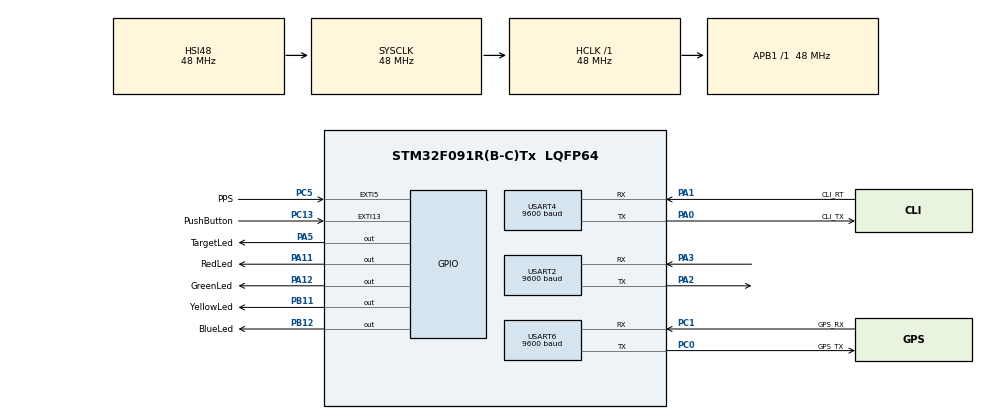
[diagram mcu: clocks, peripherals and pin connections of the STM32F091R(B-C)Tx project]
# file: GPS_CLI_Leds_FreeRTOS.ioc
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Dma.Request0=USART4_TX
Dma.USART4_TX.0.Direction=DMA_MEMORY_TO_PERIPH
Dma.USART4_TX.0.Instance=DMA1_Channel2
Dma.USART4_TX.0.MemDataAlignment=DMA_MDATAALIGN_BYTE
Dma.USART4_TX.0.MemInc=DMA_MINC_ENABLE
Dma.USART4_TX.0.Mode=DMA_NORMAL
Dma.USART4_TX.0.PeriphDataAlignment=DMA_PDATAALIGN_BYTE
Dma.USART4_TX.0.PeriphInc=DMA_PINC_DISABLE
Dma.USART4_TX.0.Priority=DMA_PRIORITY_LOW
FREERTOS.Tasks01=TargetLedTask,-2,128,TargetLedTaskFun,Default,NULL,Dynamic,NULL,NULL;YellowLedTask,-2,128,YellowLedTaskFun,Default,NULL,Dynamic,NULL,NULL;BlueLedTask,-2,128,BlueLedTaskFun,Default,NULL,Dynamic,NULL,NULL;RedLedTask,-2,128,RedLedTaskFun,Default,NULL,Dynamic,NULL,NULL;GreenLedTask,-2,128,GreenLedTaskFun,Default,NULL,Dynamic,NULL,NULL;CliTask,-2,128,CliTaskFun,Default,NULL,Dynamic,NULL,NULL;GPSTask,2,600,GPSTaskFun,Default,NULL,Dynamic,NULL,NULL
FREERTOS.configTOTAL_HEAP_SIZE=6880
Mcu.Family=STM32F0
Mcu.Name=STM32F091R(B-C)Tx
Mcu.Package=LQFP64
NVIC.DMA1_Ch2_3_DMA2_Ch1_2_IRQn=true\:3\:0\:false\:false\:true\:true\:false
NVIC.EXTI4_15_IRQn=true\:3\:0\:false\:true\:true\:1\:true\:true
NVIC.TIM1_BRK_UP_TRG_COM_IRQn=true\:0\:0\:false\:false\:true\:false\:false
NVIC.TimeBase=TIM1_BRK_UP_TRG_COM_IRQn
NVIC.TimeBaseIP=TIM1
NVIC.USART2_IRQn=true\:3\:0\:false\:false\:true\:true\:true
NVIC.USART3_8_IRQn=true\:3\:0\:false\:false\:true\:true\:true
PA0.GPIO_Label=CLI_TX
PA0.Mode=Asynchronous
PA0.Signal=USART4_TX
PA1.GPIO_Label=CLI_RT
PA1.Mode=Asynchronous
PA1.Signal=USART4_RX
PA11.GPIO_Label=RedLed
PA11.Signal=GPIO_Output
PA12.GPIO_Label=GreenLed
PA12.Signal=GPIO_Output
PA13.Mode=Serial_Wire
PA13.Signal=SYS_SWDIO
PA14.Mode=Serial_Wire
PA14.Signal=SYS_SWCLK
PA2.Mode=Asynchronous
PA2.Signal=USART2_TX
PA3.Mode=Asynchronous
PA3.Signal=USART2_RX
PA5.GPIO_Label=TargetLed
PA5.Signal=GPIO_Output
PB11.GPIO_Label=YellowLed
PB11.Signal=GPIO_Output
PB12.GPIO_Label=BlueLed
PB12.Signal=GPIO_Output
PC0.GPIO_Label=GPS_TX
PC0.Mode=Asynchronous
PC0.Signal=USART6_TX
PC1.GPIO_Label=GPS_RX
PC1.Mode=Asynchronous
PC1.Signal=USART6_RX
PC13.GPIO_Label=PushButton
PC13.Signal=GPXTI13
PC14OSC32_IN.Mode=LSE-External-Oscillator
PC14OSC32_IN.Signal=RCC_OSC32_IN
PC15OSC32_OUT.Mode=LSE-External-Oscillator
PC15OSC32_OUT.Signal=RCC_OSC32_OUT
PC5.GPIO_Label=PPS
PC5.Signal=GPXTI5
PF0-OSC_IN.Mode=HSE-External-Oscillator
PF0-OSC_IN.Signal=RCC_OSC_IN
PF1-OSC_OUT.Mode=HSE-External-Oscillator
PF1-OSC_OUT.Signal=RCC_OSC_OUT
ProjectManager.HeapSize=0x200
ProjectManager.StackSize=0x400
ProjectManager.TargetToolchain=Makefile
RCC.AHBFreq_Value=48000000
RCC.APB1Freq_Value=48000000
RCC.APB1TimFreq_Value=48000000
RCC.HCLKFreq_Value=48000000
RCC.SYSCLKFreq_VALUE=48000000
RCC.SYSCLKSource=RCC_SYSCLKSOURCE_HSI48
USART2.BaudRate=9600
USART2.VirtualMode-Asynchronous=VM_ASYNC
USART2.WordLength=WORDLENGTH_8B
USART4.BaudRate=9600
USART4.VirtualMode-Asynchronous=VM_ASYNC
USART4.WordLength=WORDLENGTH_8B
USART6.BaudRate=9600
USART6.VirtualMode=VM_ASYNC
USART6.WordLength=WORDLENGTH_8B
VP_FREERTOS_VS_ENABLE.Mode=Enabled
VP_SYS_VS_tim1.Mode=TIM1
board=GPS_CLI_Leds_FreeRTOS

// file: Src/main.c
/* USER CODE BEGIN Header */
/**
  ******************************************************************************
  * @file           : main.c
  * @brief          : Main program body
  ******************************************************************************
  * This notice applies to any and all portions of this file
  * that are not between comment pairs USER CODE BEGIN and
  * USER CODE END. Other portions of this file, whether
  * inserted by the user or by software development tools
  * are owned by their respective copyright owners.
  *
  * Copyright (c) 2019 STMicroelectronics International N.V.
  * All rights reserved.
  *
  * Redistribution and use in source and binary forms, with or without
  * modification, are permitted, provided that the following conditions are met:
  *
  * 1. Redistribution of source code must retain the above copyright notice,
  *    this list of conditions and the following disclaimer.
  * 2. Redistributions in binary form must reproduce the above copyright notice,
  *    this list of conditions and the following disclaimer in the documentation
  *    and/or other materials provided with the distribution.
  * 3. Neither the name of STMicroelectronics nor the names of other
  *    contributors to this software may be used to endorse or promote products
  *    derived from this software without specific written permission.
  * 4. This software, including modifications and/or derivative works of this
  *    software, must execute solely and exclusively on microcontroller or
  *    microprocessor devices manufactured by or for STMicroelectronics.
  * 5. Redistribution and use of this software other than as permitted under
  *    this license is void and will automatically terminate your rights under
  *    this license.
  *
  * THIS SOFTWARE IS PROVIDED BY STMICROELECTRONICS AND CONTRIBUTORS "AS IS"
  * AND ANY EXPRESS, IMPLIED OR STATUTORY WARRANTIES, INCLUDING, BUT NOT
  * LIMITED TO, THE IMPLIED WARRANTIES OF MERCHANTABILITY, FITNESS FOR A
  * PARTICULAR PURPOSE AND NON-INFRINGEMENT OF THIRD PARTY INTELLECTUAL PROPERTY
  * RIGHTS ARE DISCLAIMED TO THE FULLEST EXTENT PERMITTED BY LAW. IN NO EVENT
  * SHALL STMICROELECTRONICS OR CONTRIBUTORS BE LIABLE FOR ANY DIRECT, INDIRECT,
  * INCIDENTAL, SPECIAL, EXEMPLARY, OR CONSEQUENTIAL DAMAGES (INCLUDING, BUT NOT
  * LIMITED TO, PROCUREMENT OF SUBSTITUTE GOODS OR SERVICES; LOSS OF USE, DATA,
  * OR PROFITS; OR BUSINESS INTERRUPTION) HOWEVER CAUSED AND ON ANY THEORY OF
  * LIABILITY, WHETHER IN CONTRACT, STRICT LIABILITY, OR TORT (INCLUDING
  * NEGLIGENCE OR OTHERWISE) ARISING IN ANY WAY OUT OF THE USE OF THIS SOFTWARE,
  * EVEN IF ADVISED OF THE POSSIBILITY OF SUCH DAMAGE.
  *
  ******************************************************************************
  */
/* USER CODE END Header */

#include "main.h"
#include "cmsis_os.h"

/* USER CODE BEGIN Includes */

#include "stdlib.h"
#include "../Src/libs/GPS.h"
#include "interfaces/uartGPS.h"

/* USER CODE END Includes */

UART_HandleTypeDef huart2;
UART_HandleTypeDef huart4;
UART_HandleTypeDef huart6;

uint8 tempData;

DMA_HandleTypeDef hdma_usart4_tx;

osThreadId TargetLedTaskHandle;
osThreadId YellowLedTaskHandle;
osThreadId BlueLedTaskHandle;
osThreadId RedLedTaskHandle;
osThreadId GreenLedTaskHandle;
osThreadId CliTaskHandle;
osThreadId GPSTaskHandle;
/* USER CODE BEGIN PV */
/* Private variables ---------------------------------------------------------*/

/* USER CODE END PV */

void SystemClock_Config(void);
static void MX_GPIO_Init(void);
static void MX_DMA_Init(void);
static void MX_USART4_UART_Init(void);
static void MX_USART6_UART_Init(void);
static void MX_USART2_UART_Init(void);
void TargetLedTaskFun(void const * argument);
void YellowLedTaskFun(void const * argument);
void BlueLedTaskFun(void const * argument);
void RedLedTaskFun(void const * argument);
void GreenLedTaskFun(void const * argument);
void CliTaskFun(void const * argument);
void GPSTaskFun(void const * argument);

static void MX_NVIC_Init(void);
/* USER CODE BEGIN PFP */
/* Private function prototypes -----------------------------------------------*/

#define PUTCHAR_PROTOTYPE int fputc(int ch, FILE *f)

int len = 0;
char Rx_indx_CLI, Rx_data_CLI, Rx_Buffer_CLI[100];
char Transfer_cplt_CLI = 0;

char Rx_indx_gps1, Rx_data_gps1, Rx_Buffer_gps1[100];
char Transfer_cplt_gps1 = 0;

extern char Transfer_cplt_gps;

PUTCHAR_PROTOTYPE
{
	/* Place your implementation of fputc here */
	/* e.g. write a character to the USART */
	HAL_UART_Transmit(&huart4, (uint8_t *)&ch, 1, 100);
	return ch;
}

/* USER CODE END PFP */

int main(void)
{

  /* MCU Configuration--------------------------------------------------------*/

  /* Reset of all peripherals, Initializes the Flash interface and the Systick. */
  HAL_Init();

  /* Configure the system clock */
  SystemClock_Config();

  /* Initialize all configured peripherals */
  MX_GPIO_Init();
  MX_DMA_Init();
  MX_USART4_UART_Init();
  MX_USART6_UART_Init();
  MX_USART2_UART_Init();

  /* Initialize interrupts */
  MX_NVIC_Init();

  /* Create the thread(s) */
  /* definition and creation of TargetLedTask */
  osThreadDef(TargetLedTask, TargetLedTaskFun, osPriorityLow, 0, 128);
  TargetLedTaskHandle = osThreadCreate(osThread(TargetLedTask), NULL);

  /* definition and creation of YellowLedTask */
  osThreadDef(YellowLedTask, YellowLedTaskFun, osPriorityLow, 0, 128);
  YellowLedTaskHandle = osThreadCreate(osThread(YellowLedTask), NULL);

  /* definition and creation of BlueLedTask */
  osThreadDef(BlueLedTask, BlueLedTaskFun, osPriorityLow, 0, 128);
  BlueLedTaskHandle = osThreadCreate(osThread(BlueLedTask), NULL);

  /* definition and creation of RedLedTask */
  osThreadDef(RedLedTask, RedLedTaskFun, osPriorityLow, 0, 128);
  RedLedTaskHandle = osThreadCreate(osThread(RedLedTask), NULL);

  /* definition and creation of GreenLedTask */
  osThreadDef(GreenLedTask, GreenLedTaskFun, osPriorityLow, 0, 128);
  GreenLedTaskHandle = osThreadCreate(osThread(GreenLedTask), NULL);

  /* definition and creation of CliTask */
  osThreadDef(CliTask, CliTaskFun, osPriorityLow, 0, 128);
  CliTaskHandle = osThreadCreate(osThread(CliTask), NULL);

  /* definition and creation of GPSTask */
  osThreadDef(GPSTask, GPSTaskFun, osPriorityHigh, 0, 600);
  GPSTaskHandle = osThreadCreate(osThread(GPSTask), NULL);

  /* Start scheduler */
  osKernelStart();

  /* We should never get here as control is now taken by the scheduler */

  /* Infinite loop */
  while (1)
  {

  }
}

void SystemClock_Config(void)
{
  RCC_OscInitTypeDef RCC_OscInitStruct = {0};
  RCC_ClkInitTypeDef RCC_ClkInitStruct = {0};
  RCC_PeriphCLKInitTypeDef PeriphClkInit = {0};

  /**Initializes the CPU, AHB and APB busses clocks
  */
  RCC_OscInitStruct.OscillatorType = RCC_OSCILLATORTYPE_HSI48;
  RCC_OscInitStruct.HSI48State = RCC_HSI48_ON;
  RCC_OscInitStruct.PLL.PLLState = RCC_PLL_NONE;
  if (HAL_RCC_OscConfig(&RCC_OscInitStruct) != HAL_OK)
  {
    Error_Handler();
  }
  /**Initializes the CPU, AHB and APB busses clocks
  */
  RCC_ClkInitStruct.ClockType = RCC_CLOCKTYPE_HCLK|RCC_CLOCKTYPE_SYSCLK
                              |RCC_CLOCKTYPE_PCLK1;
  RCC_ClkInitStruct.SYSCLKSource = RCC_SYSCLKSOURCE_HSI48;
  RCC_ClkInitStruct.AHBCLKDivider = RCC_SYSCLK_DIV1;
  RCC_ClkInitStruct.APB1CLKDivider = RCC_HCLK_DIV1;

  if (HAL_RCC_ClockConfig(&RCC_ClkInitStruct, FLASH_LATENCY_1) != HAL_OK)
  {
    Error_Handler();
  }
  PeriphClkInit.PeriphClockSelection = RCC_PERIPHCLK_USART2;
  PeriphClkInit.Usart2ClockSelection = RCC_USART2CLKSOURCE_PCLK1;
  if (HAL_RCCEx_PeriphCLKConfig(&PeriphClkInit) != HAL_OK)
  {
    Error_Handler();
  }
}

/**
  * @brief NVIC Configuration.
  * @retval None
  */
static void MX_NVIC_Init(void)
{
  /* EXTI4_15_IRQn interrupt configuration */
  HAL_NVIC_SetPriority(EXTI4_15_IRQn, 3, 0);
  HAL_NVIC_EnableIRQ(EXTI4_15_IRQn);
}

static void MX_USART2_UART_Init(void)
{

  huart2.Instance = USART2;
  huart2.Init.BaudRate = 9600;
  huart2.Init.WordLength = UART_WORDLENGTH_8B;
  huart2.Init.StopBits = UART_STOPBITS_1;
  huart2.Init.Parity = UART_PARITY_NONE;
  huart2.Init.Mode = UART_MODE_TX_RX;
  huart2.Init.HwFlowCtl = UART_HWCONTROL_NONE;
  huart2.Init.OverSampling = UART_OVERSAMPLING_16;
  huart2.Init.OneBitSampling = UART_ONE_BIT_SAMPLE_DISABLE;
  huart2.AdvancedInit.AdvFeatureInit = UART_ADVFEATURE_NO_INIT;
  if (HAL_UART_Init(&huart2) != HAL_OK)
  {
    Error_Handler();
  }

}

static void MX_USART4_UART_Init(void)
{

  huart4.Instance = USART4;
  huart4.Init.BaudRate = 9600;
  huart4.Init.WordLength = UART_WORDLENGTH_8B;
  huart4.Init.StopBits = UART_STOPBITS_1;
  huart4.Init.Parity = UART_PARITY_NONE;
  huart4.Init.Mode = UART_MODE_TX_RX;
  huart4.Init.HwFlowCtl = UART_HWCONTROL_NONE;
  huart4.Init.OverSampling = UART_OVERSAMPLING_16;
  huart4.Init.OneBitSampling = UART_ONE_BIT_SAMPLE_DISABLE;
  huart4.AdvancedInit.AdvFeatureInit = UART_ADVFEATURE_NO_INIT;
  if (HAL_UART_Init(&huart4) != HAL_OK)
  {
    Error_Handler();
  }

}

static void MX_USART6_UART_Init(void)
{

  huart6.Instance = USART6;
  huart6.Init.BaudRate = 9600;
  huart6.Init.WordLength = UART_WORDLENGTH_8B;
  huart6.Init.StopBits = UART_STOPBITS_1;
  huart6.Init.Parity = UART_PARITY_NONE;
  huart6.Init.Mode = UART_MODE_TX_RX;
  huart6.Init.HwFlowCtl = UART_HWCONTROL_NONE;
  huart6.Init.OverSampling = UART_OVERSAMPLING_16;
  huart6.Init.OneBitSampling = UART_ONE_BIT_SAMPLE_DISABLE;
  huart6.AdvancedInit.AdvFeatureInit = UART_ADVFEATURE_NO_INIT;
  if (HAL_UART_Init(&huart6) != HAL_OK)
  {
    Error_Handler();
  }

}

static void MX_DMA_Init(void)
{
  /* DMA controller clock enable */
  __HAL_RCC_DMA1_CLK_ENABLE();

  /* DMA interrupt init */
  /* DMA1_Ch2_3_DMA2_Ch1_2_IRQn interrupt configuration */
  HAL_NVIC_SetPriority(DMA1_Ch2_3_DMA2_Ch1_2_IRQn, 3, 0);
  HAL_NVIC_EnableIRQ(DMA1_Ch2_3_DMA2_Ch1_2_IRQn);

}

static void MX_GPIO_Init(void)
{
  GPIO_InitTypeDef GPIO_InitStruct = {0};

  /* GPIO Ports Clock Enable */
  __HAL_RCC_GPIOC_CLK_ENABLE();
  __HAL_RCC_GPIOF_CLK_ENABLE();
  __HAL_RCC_GPIOA_CLK_ENABLE();
  __HAL_RCC_GPIOB_CLK_ENABLE();

  /*Configure GPIO pin Output Level */
  HAL_GPIO_WritePin(GPIOA, TargetLed_Pin|RedLed_Pin|GreenLed_Pin, GPIO_PIN_RESET);

  /*Configure GPIO pin Output Level */
  HAL_GPIO_WritePin(GPIOB, YellowLed_Pin|BlueLed_Pin, GPIO_PIN_RESET);

  /*Configure GPIO pins : PushButton_Pin PPS_Pin */
  GPIO_InitStruct.Pin = PushButton_Pin|PPS_Pin;
  GPIO_InitStruct.Mode = GPIO_MODE_IT_RISING;
  GPIO_InitStruct.Pull = GPIO_NOPULL;
  HAL_GPIO_Init(GPIOC, &GPIO_InitStruct);

  /*Configure GPIO pins : TargetLed_Pin RedLed_Pin GreenLed_Pin */
  GPIO_InitStruct.Pin = TargetLed_Pin|RedLed_Pin|GreenLed_Pin;
  GPIO_InitStruct.Mode = GPIO_MODE_OUTPUT_PP;
  GPIO_InitStruct.Pull = GPIO_NOPULL;
  GPIO_InitStruct.Speed = GPIO_SPEED_FREQ_LOW;
  HAL_GPIO_Init(GPIOA, &GPIO_InitStruct);

  /*Configure GPIO pins : YellowLed_Pin BlueLed_Pin */
  GPIO_InitStruct.Pin = YellowLed_Pin|BlueLed_Pin;
  GPIO_InitStruct.Mode = GPIO_MODE_OUTPUT_PP;
  GPIO_InitStruct.Pull = GPIO_NOPULL;
  GPIO_InitStruct.Speed = GPIO_SPEED_FREQ_LOW;
  HAL_GPIO_Init(GPIOB, &GPIO_InitStruct);

}

void TargetLedTaskFun(void const * argument)
{

  /* USER CODE BEGIN 5 */
  /* Infinite loop */
    for(;;)
    {
        //osDelay(2);
        vTaskDelay(1000);
        HAL_GPIO_TogglePin(TargetLed_GPIO_Port , TargetLed_Pin);
    }
  /* USER CODE END 5 */
}

void YellowLedTaskFun(void const * argument)
{
  /* USER CODE BEGIN YellowLedTaskFun */
  /* Infinite loop */
    for(;;)
    {
        vTaskDelay(1);
        //HAL_GPIO_TogglePin(YellowLed_GPIO_Port , YellowLed_Pin);
    }
  /* USER CODE END YellowLedTaskFun */
}

void BlueLedTaskFun(void const * argument)
{
  /* USER CODE BEGIN BlueLedTaskFun */
    /* Infinite loop */
    for(;;)
    {
        vTaskDelay(125);
        HAL_GPIO_TogglePin(BlueLed_GPIO_Port , BlueLed_Pin);
    }
  /* USER CODE END BlueLedTaskFun */
}

void RedLedTaskFun(void const * argument)
{
  /* USER CODE BEGIN RedLedTaskFun */
    /* Infinite loop */
    for(;;)
    {
        vTaskDelay(250);
        HAL_GPIO_TogglePin(RedLed_GPIO_Port , RedLed_Pin);
    }
  /* USER CODE END RedLedTaskFun */
}

void GreenLedTaskFun(void const * argument)
{
  /* USER CODE BEGIN GreenLedTaskFun */
    /* Infinite loop */
    for(;;)
    {
        vTaskDelay(500);
        HAL_GPIO_TogglePin(GreenLed_GPIO_Port , GreenLed_Pin);
    }
  /* USER CODE END GreenLedTaskFun */
}

void CliTaskFun(void const * argument)
{
  /* USER CODE BEGIN CliTaskFun */
  /* Infinite loop */

    for(;;)
    {
        vTaskDelay(1);
    }
  /* USER CODE END CliTaskFun */
}

void GPSTaskFun(void const * argument)
{
  /* USER CODE BEGIN GPSTaskFun */
  /* Infinite loop */
    uint8 data[500];

    RxUARTGPSStates = NMEAPro_WaitingHeader;
    uartGPS_SelectUartUARTGPSData(UART6);
    HAL_UART_Transmit_IT(&huart6, (uint8_t*) "Activando estructura de recepcion GPS\r", 38);
    HAL_UART_Transmit_IT(&huart4, (uint8_t*) "Activando estructura de recepcion CLI\r", 38);
    osDelay(5);
    /*
    for(;;)
    {
      vTaskDelay(1);
    }
    */
    GPS_Init(UART6);
    HAL_UART_Receive_IT( &huart4, &tempData, 1);

    for (int i=0; i<500; i++)
    {
        data[i] = 0x00;
    }

    for(;;)
    {
        if (GPS_ProcessNMEA() == EXIT_SUCCESS)  /* if ( UARTGPSCommandRx == true  )  { */
        {
            //HAL_GPIO_TogglePin(YellowLed_GPIO_Port , YellowLed_Pin);
            UARTGPSData.u8RxFrameIndex = 0;
            UARTGPSData.u16RxHeadersFrameArray[0] = 0;
            UARTGPSData.u16RxEndsFrameArray[0] = 0;
            UARTGPSData.u16RxBufferIndex = 0;
            GPS_PrintGpsData((char*) data);
            HAL_UART_Transmit_IT((UART_HandleTypeDef*) &huart4, data,  304);
            //HAL_UART_Transmit_IT((UART_HandleTypeDef*) &huart4, (uint8*)"Frame\n",  6);
        }
        osDelay(1);
        //vTaskSuspend(GPSTaskHandle);
    }
  /* USER CODE END GPSTaskFun */
}

void HAL_TIM_PeriodElapsedCallback(TIM_HandleTypeDef *htim)
{
  if (htim->Instance == TIM1) {
    HAL_IncTick();
  }
}

void Error_Handler(void)
{
  while(1)
  {
  }
}

/************************ (C) COPYRIGHT STMicroelectronics *****END OF FILE****/
